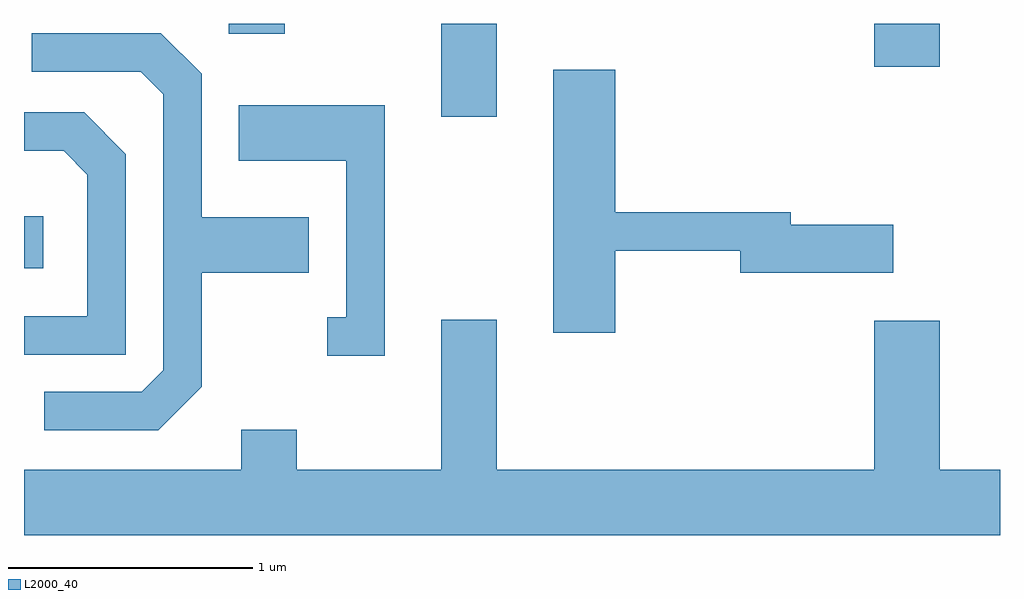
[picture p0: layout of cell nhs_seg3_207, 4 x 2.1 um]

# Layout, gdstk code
import gdstk
lib = gdstk.Library(unit=1e-6, precision=1e-09)
def R(c, l, rs):  # rectangles x0, y0, x1, y1
    for r in rs: c.add(gdstk.rectangle(r[:2], r[2:], *l))
def P(c, l, *ps):  # polygons
    for p in ps: c.add(gdstk.Polygon(p, *l))
L2000_40 = (2000, 40)

nhs_seg3_207 = lib.new_cell('nhs_seg3_207')
R(nhs_seg3_207, L2000_40, [(191.611,1124.891,191.689,1125.104), (193.321,1125.511,193.549,1125.892), (195.096,1125.716,195.364,1125.892), (192.451,1125.851,192.679,1125.892)])
P(nhs_seg3_207, L2000_40, [(192.339,1124.404),(192.339,1124.871),(192.779,1124.871),(192.779,1125.099),(192.339,1125.099),(192.339,1125.687),(192.172,1125.854),(191.643,1125.854),(191.643,1125.696),(192.089,1125.696),(192.181,1125.604),(192.181,1124.472),(192.094,1124.384),(191.693,1124.384),(191.693,1124.226),(192.162,1124.226)],
  [(194.034,1124.961),(194.546,1124.961),(194.546,1124.871),(195.174,1124.871),(195.174,1125.069),(194.754,1125.069),(194.754,1125.119),(194.034,1125.119),(194.034,1125.704),(193.781,1125.704),(193.781,1124.626),(194.034,1124.626)],
  [(193.089,1125.559),(192.491,1125.559),(192.491,1125.331),(192.931,1125.331),(192.931,1124.689),(192.853,1124.689),(192.853,1124.531),(193.089,1124.531)],
  [(192.029,1125.357),(191.857,1125.529),(191.611,1125.529),(191.611,1125.371),(191.774,1125.371),(191.871,1125.274),(191.871,1124.694),(191.611,1124.694),(191.611,1124.536),(192.029,1124.536)],
  [(195.611,1124.064),(195.364,1124.064),(195.364,1124.674),(195.096,1124.674),(195.096,1124.064),(193.549,1124.064),(193.549,1124.679),(193.321,1124.679),(193.321,1124.064),(192.729,1124.064),(192.729,1124.229),(192.501,1124.229),(192.501,1124.064),(191.611,1124.064),(191.611,1123.796),(195.611,1123.796)])

lib.write_gds('nhs_seg3_207.gds')
